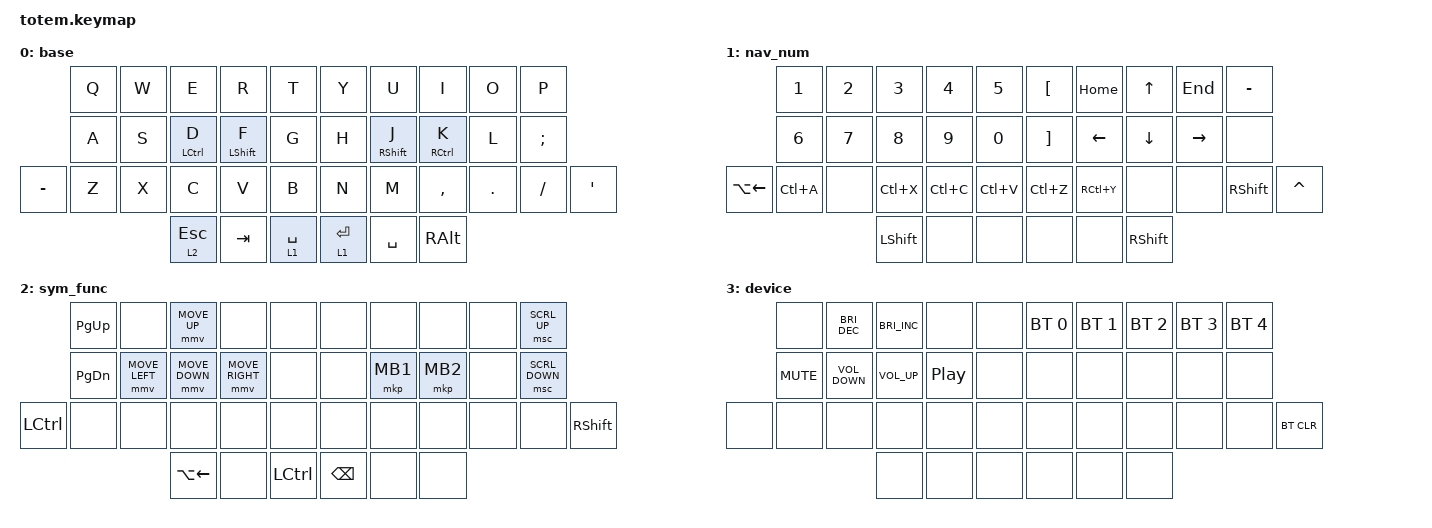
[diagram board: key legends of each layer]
//
//                                                        ▀▀▀▀▀     ▀▀▀▀▀          ▀▀█▀▀
//                                                        ▄▀▀▀▄  ▄  ▄▀▀▀▄  ▄  ▄▀▀▀▄  █  ▄▀▀▀▄
//                                                        █   █  █  █   █  █  █   █  █  █   █
//                                                         ▀▀▀   █   ▀▀▀   █   ▀▀▀   ▀   ▀▀▀
//                                                               █      ▄▄▄█▄▄▄    █   █  
//                                                               ▀      █  █  █     █▄█
//                                                             ▀▀▀▀▀    █  █  █      ▀
//                                                                      ▀  ▀  ▀
//
// ▄▄▄▄▄▄▄▄▄▄▄▄▄▄▄▄▄▄▄▄▄▄▄▄▄▄▄▄▄▄▄▄▄▄▄▄▄▄▄▄▄▄▄▄▄▄▄▄▄▄▄▄▄▄▄▄▄▄▄▄▄▄▄▄▄▄▄▄▄▄▄▄▄▄▄▄▄▄▄▄▄▄▄▄▄▄▄▄▄▄▄▄▄▄▄▄▄▄▄▄▄▄▄▄▄▄▄▄▄▄▄▄▄▄▄▄▄▄▄▄▄▄▄▄▄▄▄▄▄▄▄▄▄▄▄▄▄▄▄▄▄▄▄▄▄▄▄▄▄

#include <behaviors.dtsi>
#include <dt-bindings/zmk/bt.h>
#include <dt-bindings/zmk/keys.h>
#include <dt-bindings/zmk/pointing.h>

/ {
    combos {
        compatible = "zmk,combos";

        COMSpace {
            bindings = <&kp SPACE>;
            key-positions = <13 14>;
        };

        COMBck {
            bindings = <&kp DELETE>;
            key-positions = <5 6>;
        };

        hometoggle {
            bindings = <&to 0>;
            key-positions = <16 17 18>;
        };

        mousetoggle {
            bindings = <&to 2>;
            key-positions = <6 7 8>;
        };

        bluetoothclear {
            bindings = <&bt BT_CLR>;
            key-positions = <0 1 2 3>;
        };

        COMback {
            bindings = <&kp BACKSPACE>;
            key-positions = <15 16>;
        };

        COMtab {
            bindings = <&kp TAB>;
            key-positions = <3 4>;
        };

        COMBLE {
            bindings = <&to 3>;
            key-positions = <27 28 29>;
        };
    };

    behaviors {
        HomerowL: HomerowL {
            compatible = "zmk,behavior-hold-tap";
            label = "HOMEROWL";
            bindings = <&kp>, <&kp>;

            #binding-cells = <2>;
            tapping-term-ms = <200>;
            flavor = "tap-preferred";
            hold-trigger-key-positions = <5 6 7 8 9 15 16 17 18 19 26 27 28 29 30 31 35 36 37>;
            require-prior-idle-ms = <100>;
            quick-tap-ms = <170>;
        };

        HomerowR: HomerowR {
            compatible = "zmk,behavior-hold-tap";
            label = "HOMEROWR";
            bindings = <&kp>, <&kp>;

            #binding-cells = <2>;
            tapping-term-ms = <200>;
            flavor = "tap-preferred";
            hold-trigger-key-positions = <0 1 2 3 4 10 11 12 13 14 20 21 22 23 24 25 32 33 34>;
            quick-tap-ms = <170>;
            require-prior-idle-ms = <100>;
        };

        TapKHoldL: TapKHoldL {
            compatible = "zmk,behavior-hold-tap";
            label = "TAPKHOLDL";
            bindings = <&mo>, <&kp>;

            #binding-cells = <2>;
            tapping-term-ms = <200>;
        };

        Mouse: Mouse {
            compatible = "zmk,behavior-mouse-key-press";
            label = "MOUSE";
            #binding-cells = <1>;
        };
    };

    keymap {
        compatible = "zmk,keymap";

        base {
            bindings = <
           &kp Q  &kp W  &kp E                     &kp R                   &kp T                 &kp Y               &kp U                    &kp I                      &kp O    &kp P
           &kp A  &kp S  &HomerowL LEFT_CONTROL D  &HomerowL LEFT_SHIFT F  &kp G                 &kp H               &HomerowR RIGHT_SHIFT J  &HomerowR RIGHT_CONTROL K  &kp L    &kp SEMICOLON
&kp MINUS  &kp Z  &kp X  &kp C                     &kp V                   &kp B                 &kp N               &kp M                    &kp COMMA                  &kp DOT  &kp FSLH       &kp APOS
                         &TapKHoldL 2 ESCAPE       &kp TAB                 &TapKHoldL 1 SPACE    &TapKHoldL 1 ENTER  &kp SPACE                &kp RIGHT_ALT
            >;
        };

        nav_num {
            bindings = <
              &kp N1     &kp N2  &kp N3          &kp N4     &kp N5       &kp LEFT_BRACKET   &kp HOME        &kp UP_ARROW     &kp END    &kp MINUS
              &kp N6     &kp N7  &kp N8          &kp N9     &kp N0       &kp RIGHT_BRACKET  &kp LEFT_ARROW  &kp DOWN         &kp RIGHT  &none
&kp LA(LEFT)  &kp LC(A)  &none   &kp LC(X)       &kp LC(C)  &kp LC(V)    &kp LC(Z)          &kp RC(Y)       &none            &none      &kp RIGHT_SHIFT  &kp CARET
                                 &kp LEFT_SHIFT  &none      &none        &none              &none           &kp RIGHT_SHIFT
            >;
        };

        sym_func {
            bindings = <
                  &kp PAGE_UP    &none           &mmv MOVE_UP        &none            &none        &none          &none     &none     &none  &msc SCRL_UP
                  &kp PAGE_DOWN  &mmv MOVE_LEFT  &mmv MOVE_DOWN      &mmv MOVE_RIGHT  &none        &none          &mkp MB1  &mkp MB2  &none  &msc SCRL_DOWN
&kp LEFT_CONTROL  &none          &none           &none               &none            &none        &none          &none     &none     &none  &none           &kp RIGHT_SHIFT
                                                 &kp LA(LEFT_ARROW)  &none            &kp LCTRL    &kp BACKSPACE  &none     &none
            >;
        };

        device {
            bindings = <
       &none       &kp C_BRIGHTNESS_DEC  &kp C_BRIGHTNESS_INC  &none             &none    &bt BT_SEL 0  &bt BT_SEL 1  &bt BT_SEL 2  &bt BT_SEL 3  &bt BT_SEL 4
       &kp K_MUTE  &kp C_VOLUME_DOWN     &kp C_VOLUME_UP       &kp C_PLAY_PAUSE  &none    &none         &none         &none         &none         &none
&none  &none       &none                 &none                 &none             &none    &none         &none         &none         &none         &none         &bt BT_CLR
                                         &none                 &none             &none    &none         &none         &none
            >;
        };

        extra1 { status = "reserved"; };

        extra2 { status = "reserved"; };

        extra3 { status = "reserved"; };
    };

    conditional_layers {
        compatible = "zmk,conditional-layers";

        device {
            if-layers = <1 2>;
            then-layer = <3>;
        };
    };
};
